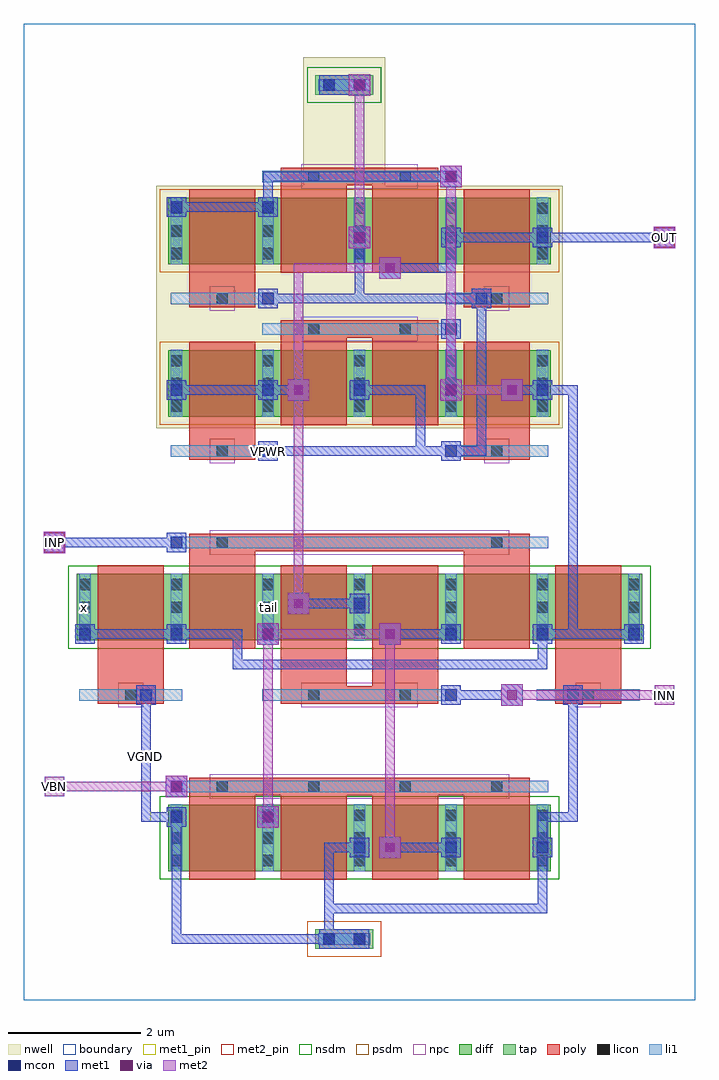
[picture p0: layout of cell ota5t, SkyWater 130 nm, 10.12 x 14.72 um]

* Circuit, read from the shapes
.subckt ota5t INN INP OUT VBN VGND VPWR tail x
XM1 x VGND x VGND sky130_fd_pr__nfet_01v8 w=1 l=1 m=2
XM2 tail VBN VGND VGND sky130_fd_pr__nfet_01v8 w=1 l=1 m=4
XM3 tail INP x VGND sky130_fd_pr__nfet_01v8 w=1 l=1 m=2
XM4 OUT INN tail VGND sky130_fd_pr__nfet_01v8 w=1 l=1 m=2
XM5 OUT VPWR OUT VPWR sky130_fd_pr__pfet_01v8 w=1 l=1 m=2
XM6 x VPWR x VPWR sky130_fd_pr__pfet_01v8 w=1 l=1 m=2
XM7 VPWR x OUT VPWR sky130_fd_pr__pfet_01v8 w=1 l=1 m=2
XM8 VPWR x x VPWR sky130_fd_pr__pfet_01v8 w=1 l=1 m=2
.ends

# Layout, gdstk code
import gdstk
lib = gdstk.Library(unit=1e-6, precision=1e-09)
def R(c, l, rs):  # rectangles x0, y0, x1, y1
    for r in rs: c.add(gdstk.rectangle(r[:2], r[2:], *l))
def A(c, l, x, y, w, h, nx, ny, dx, dy):  # array of equal rectangles
    R(c, l, [(x+i*dx, y+j*dy, x+i*dx+w, y+j*dy+h) for i in range(nx) for j in range(ny)])
nwell = (64, 20)
diff = (65, 20)
tap = (65, 44)
poly = (66, 20)
licon = (66, 44)
li1 = (67, 20)
mcon = (67, 44)
met1_pin = (68, 16)
met1 = (68, 20)
via = (68, 44)
met2_pin = (69, 16)
met2 = (69, 20)
nsdm = (93, 44)
psdm = (94, 20)
npc = (95, 20)
boundary = (235, 4)

ota5t = lib.new_cell('ota5t')
R(ota5t, nwell, [(1.995,8.62,8.125,12.28), (4.215,12.28,5.445,14.22)])
R(ota5t, diff, [(2.175,1.945,7.945,2.945), (0.795,5.425,9.325,6.425), (2.175,8.8,7.945,9.8), (2.175,11.1,7.945,12.1)])
R(ota5t, tap, [(4.395,0.775,5.265,1.065), (4.395,13.655,5.265,13.945)])
A(ota5t, poly, 2.49, 1.815, 1, 1.405, 4, 1, 1.38, 0)
R(ota5t, poly, [(2.49,3.085,7.63,3.355), (1.11,4.465,2.11,4.735), (3.87,4.465,6.25,4.735), (8.01,4.465,9.01,4.735), (1.11,4.6,2.11,6.555), (3.87,4.6,4.87,6.555), (5.25,4.6,6.25,6.555), (8.01,4.6,9.01,6.555), (2.49,5.295,3.49,6.9), (6.63,5.295,7.63,6.9), (2.49,6.765,7.63,7.035), (2.49,8.145,3.49,8.415), (6.63,8.145,7.63,8.415), (2.49,8.28,3.49,9.93), (6.63,8.28,7.63,9.93), (3.87,8.67,4.87,10.12), (5.25,8.67,6.25,10.12), (3.87,9.985,6.25,10.255), (2.49,10.445,3.49,10.715), (6.63,10.445,7.63,10.715), (2.49,10.58,3.49,12.23), (6.63,10.58,7.63,12.23), (3.87,10.97,4.87,12.42), (5.25,10.97,6.25,12.42), (3.87,12.285,6.25,12.555)])
A(ota5t, licon, 2.215, 2.02, 0.17, 0.17, 5, 3, 1.38, 0.34)
A(ota5t, licon, 2.905, 3.135, 0.17, 0.17, 4, 1, 1.38, 0)
A(ota5t, licon, 0.835, 5.5, 0.17, 0.17, 7, 3, 1.38, 0.34)
A(ota5t, licon, 2.215, 8.875, 0.17, 0.17, 5, 3, 1.38, 0.34)
A(ota5t, licon, 2.215, 11.175, 0.17, 0.17, 5, 3, 1.38, 0.34)
R(ota5t, licon, [(4.515,0.835,4.685,1.005), (4.975,0.835,5.145,1.005), (1.525,4.515,1.695,4.685), (4.285,4.515,4.455,4.685), (5.665,4.515,5.835,4.685), (8.425,4.515,8.595,4.685), (2.905,6.815,3.075,6.985), (7.045,6.815,7.215,6.985), (2.905,8.195,3.075,8.365), (7.045,8.195,7.215,8.365), (4.285,10.035,4.455,10.205), (5.665,10.035,5.835,10.205), (2.905,10.495,3.075,10.665), (7.045,10.495,7.215,10.665), (4.285,12.335,4.455,12.505), (5.665,12.335,5.835,12.505), (4.515,13.715,4.685,13.885), (4.975,13.715,5.145,13.885)])
A(ota5t, li1, 2.215, 1.94, 0.17, 1.01, 5, 2, 1.38, 6.855)
A(ota5t, li1, 0.835, 5.42, 0.17, 1.01, 7, 1, 1.38, 0)
A(ota5t, li1, 2.215, 11.095, 0.17, 1.01, 5, 1, 1.38, 0)
R(ota5t, li1, [(4.435,0.835,5.225,1.005), (2.215,3.135,7.905,3.305), (0.835,4.515,2.385,4.685), (3.595,4.515,6.525,4.685), (7.735,4.515,9.285,4.685), (2.215,6.815,7.905,6.985), (2.215,8.195,3.765,8.365), (6.355,8.195,7.905,8.365), (3.595,10.035,6.525,10.205), (2.215,10.495,3.765,10.665), (6.355,10.495,7.905,10.665), (3.595,12.335,6.525,12.505), (4.435,13.715,5.225,13.885)])
A(ota5t, mcon, 4.975, 2.215, 0.17, 0.17, 3, 2, 1.38, 9.2)
A(ota5t, mcon, 0.835, 5.435, 0.17, 0.17, 3, 1, 1.38, 0)
A(ota5t, mcon, 6.355, 5.435, 0.17, 0.17, 3, 1, 1.38, 0)
A(ota5t, mcon, 2.215, 9.115, 0.17, 0.17, 5, 1, 1.38, 0)
R(ota5t, mcon, [(4.515,0.835,4.685,1.005), (4.975,0.835,5.145,1.005), (2.215,2.675,2.385,2.845), (3.595,2.675,3.765,2.845), (2.215,3.135,2.385,3.305), (1.755,4.515,1.925,4.685), (6.355,4.515,6.525,4.685), (8.195,4.515,8.365,4.685), (4.975,5.895,5.145,6.065), (2.215,6.815,2.385,6.985), (3.595,8.195,3.765,8.365), (6.355,8.195,6.525,8.365), (6.355,10.035,6.525,10.205), (3.595,10.495,3.765,10.665), (6.815,10.495,6.985,10.665), (2.215,11.875,2.385,12.045), (3.595,11.875,3.765,12.045), (6.355,12.335,6.525,12.505), (4.515,13.715,4.685,13.885), (4.975,13.715,5.145,13.885)])
R(ota5t, met1_pin, [(1.77,2.69,1.91,4.67), (3.535,8.135,3.825,8.425)])
A(ota5t, met1, 4.915, 2.155, 0.29, 0.29, 3, 2, 1.38, 9.2)
A(ota5t, met1, 0.775, 5.375, 0.29, 0.29, 3, 1, 1.38, 0)
A(ota5t, met1, 6.295, 5.375, 0.29, 0.29, 3, 1, 1.38, 0)
A(ota5t, met1, 2.155, 9.055, 0.29, 0.29, 5, 1, 1.38, 0)
R(ota5t, met1, [(4.455,0.775,5.205,1.065), (2.23,0.85,4.67,0.99), (2.23,0.85,2.37,2.83), (4.53,0.85,4.67,0.99), (4.53,0.85,4.67,2.37), (4.53,1.31,7.89,1.45), (7.75,1.31,7.89,2.37), (5.36,2.14,5.68,2.46), (4.53,2.23,5.13,2.37), (5.45,2.23,6.51,2.37), (7.75,2.23,7.89,2.83), (3.52,2.6,3.84,2.92), (2.155,2.615,2.445,2.905), (3.535,2.615,3.825,2.905), (1.77,2.69,2.37,2.83), (1.77,2.69,1.91,4.67), (7.75,2.69,8.35,2.83), (8.21,2.69,8.35,4.67), (2.14,3.06,2.46,3.38), (2.155,3.075,2.445,3.365), (7.2,4.44,7.52,4.76), (1.695,4.455,1.985,4.745), (6.295,4.455,6.585,4.745), (8.135,4.455,8.425,4.745), (6.37,4.53,7.43,4.67), (3.15,4.99,3.29,5.59), (3.15,4.99,7.89,5.13), (7.75,4.99,7.89,5.59), (3.52,5.36,3.84,5.68), (5.36,5.36,5.68,5.68), (0.85,5.45,2.37,5.59), (2.23,5.45,3.29,5.59), (5.45,5.45,6.51,5.59), (7.75,5.45,9.27,5.59), (8.21,5.45,8.35,9.27), (3.98,5.82,4.3,6.14), (4.915,5.835,5.205,6.125), (4.07,5.91,5.13,6.05), (0.3,6.74,0.62,7.06), (2.155,6.755,2.445,7.045), (0.39,6.83,2.37,6.97), (3.535,8.135,3.825,8.425), (6.295,8.135,6.585,8.425), (3.61,8.21,6.05,8.35), (5.91,8.21,6.05,9.27), (5.91,8.21,6.51,8.35), (6.37,8.21,6.97,8.35), (6.83,8.21,6.97,10.65), (3.98,9.04,4.3,9.36), (6.28,9.04,6.6,9.36), (7.2,9.04,7.52,9.36), (2.23,9.13,3.75,9.27), (3.61,9.13,4.21,9.27), (4.99,9.13,6.05,9.27), (6.37,9.13,6.51,10.19), (7.29,9.13,7.89,9.27), (7.75,9.13,8.35,9.27), (6.295,9.975,6.585,10.265), (3.535,10.435,3.825,10.725), (6.755,10.435,7.045,10.725), (3.61,10.51,5.13,10.65), (4.99,10.51,5.13,11.57), (4.99,10.51,6.97,10.65), (5.36,10.88,5.68,11.2), (5.45,10.97,6.51,11.11), (6.37,10.97,6.51,11.57), (4.9,11.34,5.22,11.66), (9.5,11.34,9.82,11.66), (6.37,11.43,7.89,11.57), (7.75,11.43,9.73,11.57), (2.155,11.815,2.445,12.105), (3.535,11.815,3.825,12.105), (2.23,11.89,3.75,12.03), (3.61,11.89,3.75,12.49), (6.28,12.26,6.6,12.58), (6.295,12.275,6.585,12.565), (3.61,12.35,6.51,12.49), (4.9,13.64,5.22,13.96), (4.455,13.655,5.205,13.945), (4.99,13.73,5.13,13.87)])
R(ota5t, via, [(5.445,2.225,5.595,2.375), (3.605,2.685,3.755,2.835), (2.225,3.145,2.375,3.295), (7.285,4.525,7.435,4.675), (3.605,5.445,3.755,5.595), (5.445,5.445,5.595,5.595), (4.065,5.905,4.215,6.055), (0.385,6.825,0.535,6.975), (4.065,9.125,4.215,9.275), (6.365,9.125,6.515,9.275), (7.285,9.125,7.435,9.275), (5.445,10.965,5.595,11.115), (4.985,11.425,5.135,11.575), (9.585,11.425,9.735,11.575), (6.365,12.345,6.515,12.495), (4.985,13.725,5.135,13.875)])
R(ota5t, met2_pin, [(0.31,3.07,0.61,3.37), (9.51,4.45,9.81,4.75), (0.31,6.75,0.61,7.05), (9.51,11.35,9.81,11.65)])
R(ota5t, met2, [(5.36,2.14,5.68,2.46), (5.45,2.23,5.59,5.59), (3.52,2.6,3.84,2.92), (3.61,2.69,3.75,5.59), (2.14,3.06,2.46,3.38), (0.31,3.07,0.61,3.37), (0.39,3.15,2.37,3.29), (0.39,3.15,0.53,3.29), (7.2,4.44,7.52,4.76), (9.51,4.45,9.81,4.75), (7.29,4.53,9.73,4.67), (9.59,4.53,9.73,4.67), (3.52,5.36,3.84,5.68), (5.36,5.36,5.68,5.68), (3.61,5.45,5.59,5.59), (3.98,5.82,4.3,6.14), (4.07,5.91,4.21,9.27), (0.3,6.74,0.62,7.06), (0.31,6.75,0.61,7.05), (0.39,6.83,0.53,6.97), (3.98,9.04,4.3,9.36), (6.28,9.04,6.6,9.36), (7.2,9.04,7.52,9.36), (4.07,9.13,4.21,11.11), (6.37,9.13,6.51,12.49), (6.37,9.13,7.43,9.27), (5.36,10.88,5.68,11.2), (4.07,10.97,5.59,11.11), (4.9,11.34,5.22,11.66), (9.5,11.34,9.82,11.66), (9.51,11.35,9.81,11.65), (4.99,11.43,5.13,13.87), (9.59,11.43,9.73,11.57), (6.28,12.26,6.6,12.58), (4.9,13.64,5.22,13.96)])
R(ota5t, nsdm, [(2.05,1.82,8.07,3.07), (0.67,5.3,9.45,6.55), (4.27,13.53,5.39,14.07)])
R(ota5t, psdm, [(4.27,0.65,5.39,1.19), (2.05,8.675,8.07,9.925), (2.05,10.975,8.07,12.225)])
R(ota5t, npc, [(2.805,3.035,7.315,3.405), (1.425,4.415,1.795,4.785), (4.185,4.415,5.935,4.785), (8.325,4.415,8.695,4.785), (2.805,6.715,7.315,7.085), (2.805,8.095,3.175,8.465), (6.945,8.095,7.315,8.465), (4.185,9.935,5.935,10.305), (2.805,10.395,3.175,10.765), (6.945,10.395,7.315,10.765), (4.185,12.235,5.935,12.605)])
R(ota5t, boundary, [(0,0,10.12,14.72)])
ota5t.add(gdstk.Label('x', (0.92,5.925), layer=67, texttype=5))
ota5t.add(gdstk.Label('tail', (3.68,5.925), layer=67, texttype=5))
ota5t.add(gdstk.Label('VPWR', (3.68,8.28), layer=68, texttype=5))
ota5t.add(gdstk.Label('VGND', (1.84,3.68), layer=68, texttype=5))
ota5t.add(gdstk.Label('INP', (0.46,6.9), layer=69, texttype=5))
ota5t.add(gdstk.Label('INN', (9.66,4.6), layer=69, texttype=5))
ota5t.add(gdstk.Label('VBN', (0.46,3.22), layer=69, texttype=5))
ota5t.add(gdstk.Label('OUT', (9.66,11.5), layer=69, texttype=5))
ota5t.add(gdstk.Label('VPWR', (3.68,8.28), layer=68, texttype=16))
ota5t.add(gdstk.Label('VGND', (1.84,3.68), layer=68, texttype=16))
ota5t.add(gdstk.Label('INP', (0.46,6.9), layer=69, texttype=16))
ota5t.add(gdstk.Label('INN', (9.66,4.6), layer=69, texttype=16))
ota5t.add(gdstk.Label('VBN', (0.46,3.22), layer=69, texttype=16))
ota5t.add(gdstk.Label('OUT', (9.66,11.5), layer=69, texttype=16))

lib.write_gds('ota5t.gds')
